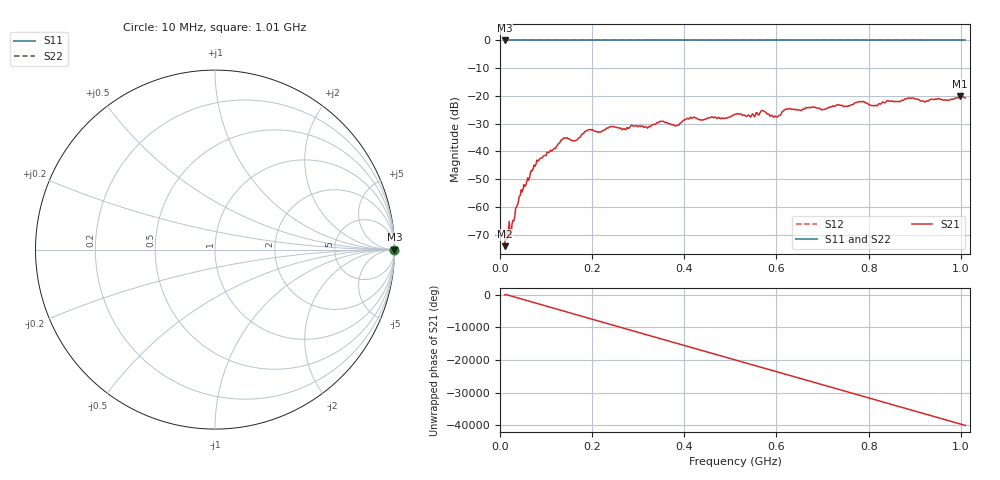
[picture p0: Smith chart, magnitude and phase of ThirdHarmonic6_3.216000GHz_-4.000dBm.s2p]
! 8/17/2025 9:48:16 AM
! C:\ANRITSUVNA\TEMP\TEMP.S2P
! CHANNEL.1
! TR.MEASUREMENT
! RAW.DATA
! RF.CORRECTION.OFF
! AVERAGING.OFF
! IF.BANDWIDTH: 5KHZ
! SWEEPTYPE:  FREQ.SWEEP(Linear)
! Reference Plane Port Info
! PORT:  PORT1  PORT2
! DISTANCE:  0  m  0  m
! TIME:  0  s  0  s
! PHASE.OFFSET:  0  deg.  0  deg.
! LOSS:  0  dB  0  dB
! REF.LOSS:  0  dB  0  dB
! REF.FREQ:  0  Hz  0  Hz
! Power Info
! POWER:  -20  dBm  -20  dBm
! EFF.POWER:  -20  dBm  -20  dBm
! SOURCE.ATTEN:  0  dB  0  dB
! TEST.ATTEN:  0  dB  0  dB
# GHZ S RI R 50.0
! FREQ.GHZ  S11RE  S11IM  S21RE  S21IM  S12RE  S12IM  S22RE  S22IM
!; PortSelection: Port_12
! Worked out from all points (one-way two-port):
!   501 points, 10 MHz to 1.01 GHz, reference 50 ohm
!   highest |S21| = -20.12 dB at 998 MHz (marker M1); lowest = -74.1 dB at 10 MHz (marker M2)
!   lowest |S11| = 0.0 dB at 10 MHz (marker M3)
!   |S11| at or under -10 dB: nowhere
!   |S22| runs from 0.0 to 0.0 dB; largest |S21 - S12| = 1.1
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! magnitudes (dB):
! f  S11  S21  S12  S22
! 10 MHz  0.0  -74.1  0.0  0.0
! 26 MHz  0.0  -66.4  0.0  0.0
! 46 MHz  0.0  -53.8  0.0  0.0
! 78 MHz  0.0  -44.7  0.0  0.0
! 136 MHz  0.0  -35.6  0.0  0.0
! 164 MHz  0.0  -36.0  0.0  0.0
! 178 MHz  0.0  -33.7  0.0  0.0
! 192 MHz  0.0  -32.2  0.0  0.0
! 322 MHz  0.0  -31.2  0.0  0.0
! 344 MHz  0.0  -29.7  0.0  0.0
! 384 MHz  0.0  -30.6  0.0  0.0
! 416 MHz  0.0  -28.0  0.0  0.0
! 510 MHz  0.0  -26.6  0.0  0.0
! 570 MHz  0.0  -25.2  0.0  0.0
! 598 MHz  0.0  -27.3  0.0  0.0
! 624 MHz  0.0  -24.6  0.0  0.0
! 678 MHz  0.0  -24.0  0.0  0.0
! 784 MHz  0.0  -22.2  0.0  0.0
! 814 MHz  0.0  -23.4  0.0  0.0
! 844 MHz  0.0  -21.8  0.0  0.0
! 998 MHz  0.0  -20.1  0.0  0.0
! 1.01 GHz  0.0  -20.7  0.0  0.0
